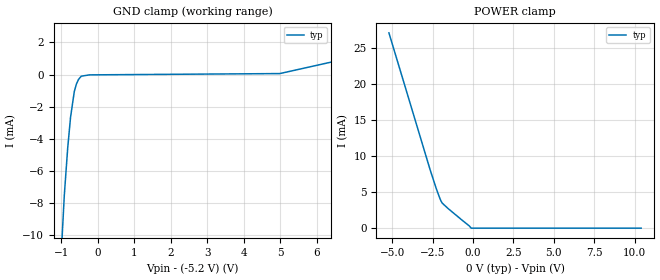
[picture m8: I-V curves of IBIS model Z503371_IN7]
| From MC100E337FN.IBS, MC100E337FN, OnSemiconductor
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| (C) COPYRIGHT 1993-2000
| MENTOR GRAPHICS CORPORATION
| ICX STANDARD LIBRARY, ICX PROJECT MODELING,
| ICX CUSTOM MODELING, ICX VENDOR MODEL
| ALL RIGHTS RESERVED.
| THE FOLLOWING ARE TRADEMARKS OR SERVICE MARKS OF
| MENTOR GRAPHICS CORPORATION:ICX (R), ICX STANDARD
| LIBRARY(R), ICX PROJECT MODELING(R), ICX CUSTOM
| MODELING(R), qualityIBIS(TM), MODELVIEWER(TM),
| AND MODELEDITOR(TM)
| ALL COPIES OF SOFTWARE, INCLUDING BUT NOT LIMITED TO
| ANY MODIFICATIONS, ENHANCEMENTS OR DERIVATIVE WORKS,
| MUST CONTAIN ALL MENTOR GRAPHICS CORPORATION'S
| NOTICES AND LEGENDS, INCLUDING THOSE EMBEDDED IN
| SOFTWARE AND THOSE AFFIXED TO SOFTWARE MEDIUM
| AND CONTAINER, AS RECEIVED FROM MENTOR GRAPHICS
| CORPORATION.
| Model Application Version 1.89 2/18/99.
[Model] Z503371_IN7
Model_type Input_ECL
Vinl = -1.475V
Vinh = -1.165V
C_comp 4.000pF NA NA
| variable typ   min   max
[Voltage Range] -5.200V NA NA
[GND Clamp Reference] -5.200V NA NA
[POWER Clamp Reference] 0.000V NA NA
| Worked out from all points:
|   GND clamp passes 1 mA (typ) near -0.63 V on its own axis
[GND Clamp]
-5.2V     -264mA     NA         NA
-1.065V   -14.14mA   NA         NA
-913mV    -7.53mA    NA         NA
-821mV    -4.606mA   NA         NA
-742mV    -2.665mA   NA         NA
-639mV    -1.056mA   NA         NA
-583mV    -600uA     NA         NA
-523mV    -301.3uA   NA         NA
-448mV    -100.6uA   NA         NA
-224mV    -19.19uA   NA         NA
4.992V    61.92uA    NA         NA
10.4V     2.814mA    NA         NA
[POWER Clamp]
-5.2V     27.16mA    NA         NA
-2.646V   8.079mA    NA         NA
-2.275V   5.521mA    NA         NA
-2.051V   4.147mA    NA         NA
-1.977V   3.757mA    NA         NA
-1.897V   3.47mA     NA         NA
-1.551V   2.749mA    NA         NA
-653.1mV  1.073mA    NA         NA
-224.6mV  303.9uA    NA         NA
-112.3mV  0A         NA         NA
10.4V     0A         NA         NA
